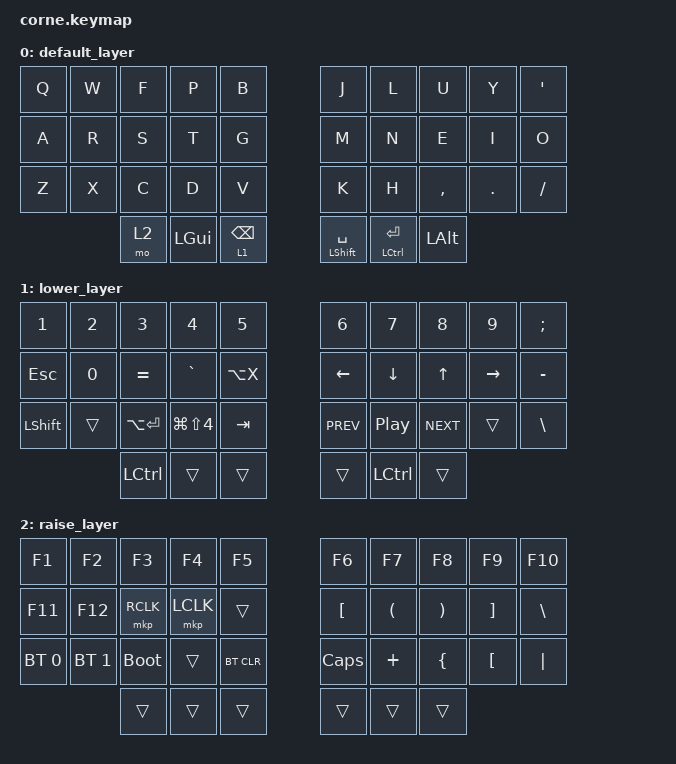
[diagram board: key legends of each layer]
/*
 * Copyright (c) 2020 The ZMK Contributors
 *
 * SPDX-License-Identifier: MIT
 */

#include <behaviors.dtsi>
#include <dt-bindings/zmk/keys.h>
#include <dt-bindings/zmk/pointing.h>
#include <dt-bindings/zmk/bt.h>
/* #include <interfaces/hid-trackball.dtsi> */

/* #define DEFAULT = 0 */
/* #define LOWER = 1 */
/* #define RAISE = 2 */

/ {

        chosen {
            zmk,matrix-transform =
                &five_column_transform;
        };

        keymap {
                compatible = "zmk,keymap";

                default_layer {
/* ----------------------------------------------------------------------------------------- */
                        bindings = <
    &kp Q &kp W &kp F  &kp P    &kp B                    &kp J            &kp L          &kp U     &kp Y   &kp SQT
    &kp A &kp R &kp S  &kp T    &kp G                    &kp M            &kp N          &kp E     &kp I   &kp O
    &kp Z &kp X &kp C  &kp D    &kp V                    &kp K            &kp H          &kp COMMA &kp DOT &kp FSLH
                &mo 2  &kp LGUI &lt 1 BSPC               &mt LSHIFT SPACE &mt LCTRL RET  &kp LALT
                        >;
                };
                lower_layer {
/* ----------------------------------------------------------------------------------------- */
                        bindings = <
  &kp N1     &kp N2  &kp N3      &kp N4         &kp N5         &kp N6     &kp N7     &kp N8       &kp N9    &kp SEMI
  &kp ESC    &kp N0  &kp EQUAL   &kp GRAVE      &kp LA(X)      &kp LEFT   &kp DOWN   &kp UP       &kp RIGHT &kp MINUS
  &kp LSHIFT &trans  &kp LA(RET) &kp LG(LS(N4)) &kp TAB        &kp C_PREV &kp C_PP   &kp C_NEXT   &trans    &kp BSLH
                     &kp LCTRL    &trans        &trans         &trans     &kp LCTRL   &trans
                        >;
                };
                raise_layer {
/* ----------------------------------------------------------------------------------------- */
                        bindings = <
   &kp F1        &kp F2          &kp F3       &kp F4    &kp F5        &kp F6      &kp F7    &kp F8    &kp F9    &kp F10
   &kp F11       &kp F12         &mkp RCLK    &mkp LCLK &trans        &kp LBKT    &kp LPAR  &kp RPAR  &kp RBKT  &kp BSLH
   &bt BT_SEL 0  &bt BT_SEL 1  &bootloader  &trans    &bt BT_CLR        &kp CAPS    &kp PLUS  &kp LBRC  &kp LBKT  &kp PIPE
                                 &trans       &trans    &trans        &trans      &trans    &trans
                        >;
                };
        };
};

/* &tb_tg_scroll */
